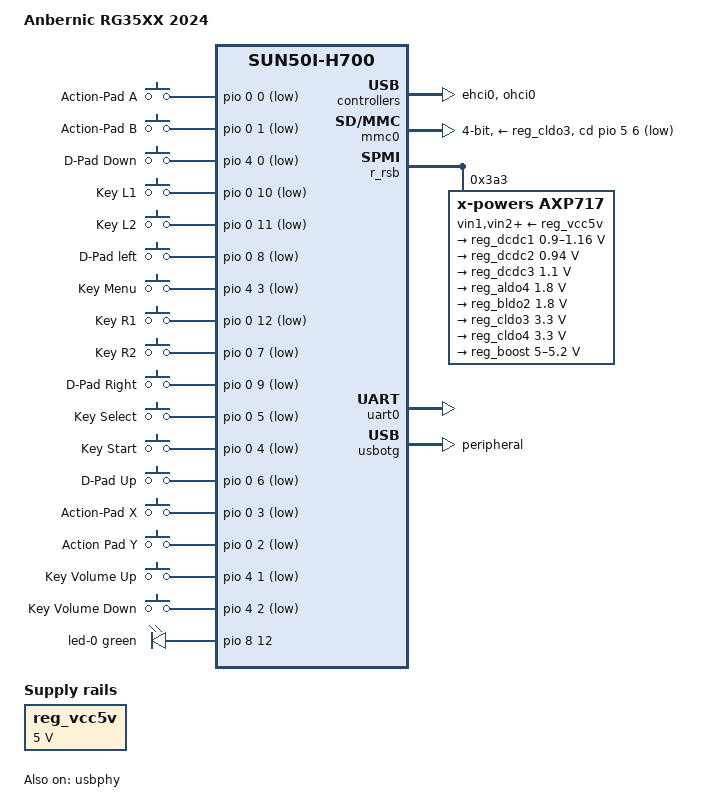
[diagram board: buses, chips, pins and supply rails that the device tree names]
// SPDX-License-Identifier: (GPL-2.0-only OR BSD-2-Clause)
/*
 * Copyright (C) 2024 Ryan Walklin <ryan@testtoast.com>.
 */

/dts-v1/;

#include "sun50i-h616.dtsi"
#include "sun50i-h616-cpu-opp.dtsi"
#include <dt-bindings/gpio/gpio.h>
#include <dt-bindings/input/linux-event-codes.h>
#include <dt-bindings/interrupt-controller/arm-gic.h>
#include <dt-bindings/leds/common.h>

/ {
	model = "Anbernic RG35XX 2024";
	chassis-type = "handset";
	compatible = "anbernic,rg35xx-2024", "allwinner,sun50i-h700";

	aliases {
		serial0 = &uart0;
	};

	chosen {
		stdout-path = "serial0:115200n8";
	};

	gpio_keys_gamepad: gpio-keys-gamepad {
		compatible = "gpio-keys";

		button-a {
			label = "Action-Pad A";
			gpios = <&pio 0 0 GPIO_ACTIVE_LOW>; /* PA0 */
			linux,input-type = <EV_KEY>;
			linux,code = <BTN_EAST>;
		};

		button-b {
			label = "Action-Pad B";
			gpios = <&pio 0 1 GPIO_ACTIVE_LOW>; /* PA1 */
			linux,input-type = <EV_KEY>;
			linux,code = <BTN_SOUTH>;
		};

		button-down {
			label = "D-Pad Down";
			gpios = <&pio 4 0 GPIO_ACTIVE_LOW>; /* PE0 */
			linux,input-type = <EV_KEY>;
			linux,code = <BTN_DPAD_DOWN>;
		};

		button-l1 {
			label = "Key L1";
			gpios = <&pio 0 10 GPIO_ACTIVE_LOW>; /* PA10 */
			linux,input-type = <EV_KEY>;
			linux,code = <BTN_TL>;
		};

		button-l2 {
			label = "Key L2";
			gpios = <&pio 0 11 GPIO_ACTIVE_LOW>; /* PA11 */
			linux,input-type = <EV_KEY>;
			linux,code = <BTN_TL2>;
		};

		button-left {
			label = "D-Pad left";
			gpios = <&pio 0 8 GPIO_ACTIVE_LOW>; /* PA8 */
			linux,input-type = <EV_KEY>;
			linux,code = <BTN_DPAD_LEFT>;
		};

		button-menu {
			label = "Key Menu";
			gpios = <&pio 4 3 GPIO_ACTIVE_LOW>; /* PE3 */
			linux,input-type = <EV_KEY>;
			linux,code = <BTN_MODE>;
		};

		button-r1 {
			label = "Key R1";
			gpios = <&pio 0 12 GPIO_ACTIVE_LOW>; /* PA12 */
			linux,input-type = <EV_KEY>;
			linux,code = <BTN_TR>;
		};

		button-r2 {
			label = "Key R2";
			gpios = <&pio 0 7 GPIO_ACTIVE_LOW>; /* PA7 */
			linux,input-type = <EV_KEY>;
			linux,code = <BTN_TR2>;
		};

		button-right {
			label = "D-Pad Right";
			gpios = <&pio 0 9 GPIO_ACTIVE_LOW>; /* PA9 */
			linux,input-type = <EV_KEY>;
			linux,code = <BTN_DPAD_RIGHT>;
		};

		button-select {
			label = "Key Select";
			gpios = <&pio 0 5 GPIO_ACTIVE_LOW>; /* PA5 */
			linux,input-type = <EV_KEY>;
			linux,code = <BTN_SELECT>;
		};
		button-start {
			label = "Key Start";
			gpios = <&pio 0 4 GPIO_ACTIVE_LOW>; /* PA4 */
			linux,input-type = <EV_KEY>;
			linux,code = <BTN_START>;
		};

		button-up {
			label = "D-Pad Up";
			gpios = <&pio 0 6 GPIO_ACTIVE_LOW>; /* PA6 */
			linux,input-type = <EV_KEY>;
			linux,code = <BTN_DPAD_UP>;
		};

		button-x {
			label = "Action-Pad X";
			gpios = <&pio 0 3 GPIO_ACTIVE_LOW>; /* PA3 */
			linux,input-type = <EV_KEY>;
			linux,code = <BTN_NORTH>;
		};

		button-y {
			label = "Action Pad Y";
			gpios = <&pio 0 2 GPIO_ACTIVE_LOW>; /* PA2 */
			linux,input-type = <EV_KEY>;
			linux,code = <BTN_WEST>;
		};
	};

	gpio-keys-volume {
		compatible = "gpio-keys";
		autorepeat;

		button-vol-up {
			label = "Key Volume Up";
			gpios = <&pio 4 1 GPIO_ACTIVE_LOW>; /* PE1 */
			linux,input-type = <EV_KEY>;
			linux,code = <KEY_VOLUMEUP>;
		};

		button-vol-down {
			label = "Key Volume Down";
			gpios = <&pio 4 2 GPIO_ACTIVE_LOW>; /* PE2 */
			linux,input-type = <EV_KEY>;
			linux,code = <KEY_VOLUMEDOWN>;
		};
	};

	leds {
		compatible = "gpio-leds";

		led-0 {
			function = LED_FUNCTION_POWER;
			color = <LED_COLOR_ID_GREEN>;
			gpios = <&pio 8 12 GPIO_ACTIVE_HIGH>; /* PI12 */
			default-state = "on";
		};
	};

	reg_vcc5v: regulator-vcc5v { /* USB-C power input */
		compatible = "regulator-fixed";
		regulator-name = "vcc-5v";
		regulator-min-microvolt = <5000000>;
		regulator-max-microvolt = <5000000>;
	};
};

&cpu0 {
	cpu-supply = <&reg_dcdc1>;
};

&ehci0 {
	status = "okay";
};

&mmc0 {
	vmmc-supply = <&reg_cldo3>;
	disable-wp;
	cd-gpios = <&pio 5 6 GPIO_ACTIVE_LOW>;  /* PF6 */
	bus-width = <4>;
	status = "okay";
};

&ohci0 {
	status = "okay";
};

&pio {
	vcc-pa-supply = <&reg_cldo3>;
	vcc-pc-supply = <&reg_cldo3>;
	vcc-pe-supply = <&reg_cldo3>;
	vcc-pf-supply = <&reg_cldo3>;
	vcc-pg-supply = <&reg_aldo4>;
	vcc-ph-supply = <&reg_cldo3>;
	vcc-pi-supply = <&reg_cldo3>;
};

&r_rsb {
	status = "okay";

	axp717: pmic@3a3 {
		compatible = "x-powers,axp717";
		reg = <0x3a3>;
		interrupt-controller;
		#interrupt-cells = <1>;
		interrupt-parent = <&nmi_intc>;
		interrupts = <0 IRQ_TYPE_LEVEL_LOW>;

		vin1-supply = <&reg_vcc5v>;
		vin2-supply = <&reg_vcc5v>;
		vin3-supply = <&reg_vcc5v>;
		vin4-supply = <&reg_vcc5v>;

		regulators {
			reg_dcdc1: dcdc1 {
				regulator-always-on;
				regulator-min-microvolt = <900000>;
				regulator-max-microvolt = <1160000>;
				regulator-name = "vdd-cpu";
			};

			reg_dcdc2: dcdc2 {
				regulator-always-on;
				regulator-min-microvolt = <940000>;
				regulator-max-microvolt = <940000>;
				regulator-name = "vdd-gpu-sys";
			};

			reg_dcdc3: dcdc3 {
				regulator-always-on;
				regulator-min-microvolt = <1100000>;
				regulator-max-microvolt = <1100000>;
				regulator-name = "vdd-dram";
			};

			reg_aldo1: aldo1 {
				/* 1.8v - unused */
			};

			reg_aldo2: aldo2 {
				/* 1.8v - unused */
			};

			reg_aldo3: aldo3 {
				/* 1.8v - unused */
			};

			reg_aldo4: aldo4 {
				regulator-min-microvolt = <1800000>;
				regulator-max-microvolt = <1800000>;
				regulator-name = "vcc-pg";
			};

			reg_bldo1: bldo1 {
				/* 1.8v - unused */
			};

			reg_bldo2: bldo2 {
				regulator-always-on;
				regulator-min-microvolt = <1800000>;
				regulator-max-microvolt = <1800000>;
				regulator-name = "vcc-pll";
			};

			reg_bldo3: bldo3 {
				/* 2.8v - unused */
			};

			reg_bldo4: bldo4 {
				/* 1.2v - unused */
			};

			reg_cldo1: cldo1 {
				/* 3.3v - audio codec - not yet implemented */
			};

			reg_cldo2: cldo2 {
				/* 3.3v - unused */
			};

			reg_cldo3: cldo3 {
				regulator-always-on;
				regulator-min-microvolt = <3300000>;
				regulator-max-microvolt = <3300000>;
				regulator-name = "vcc-io";
			};

			reg_cldo4: cldo4 {
				regulator-min-microvolt = <3300000>;
				regulator-max-microvolt = <3300000>;
				regulator-name = "vcc-wifi";
			};

			reg_boost: boost {
				regulator-min-microvolt = <5000000>;
				regulator-max-microvolt = <5200000>;
				regulator-name = "boost";
			};

			reg_cpusldo: cpusldo {
				/* unused */
			};
		};
	};
};

&uart0 {
	pinctrl-names = "default";
	pinctrl-0 = <&uart0_ph_pins>;
	status = "okay";
};

/* the AXP717 has USB type-C role switch functionality, not yet described by the binding */
&usbotg {
	dr_mode = "peripheral";   /* USB type-C receptable */
	status = "okay";
};

&usbphy {
	status = "okay";
};
